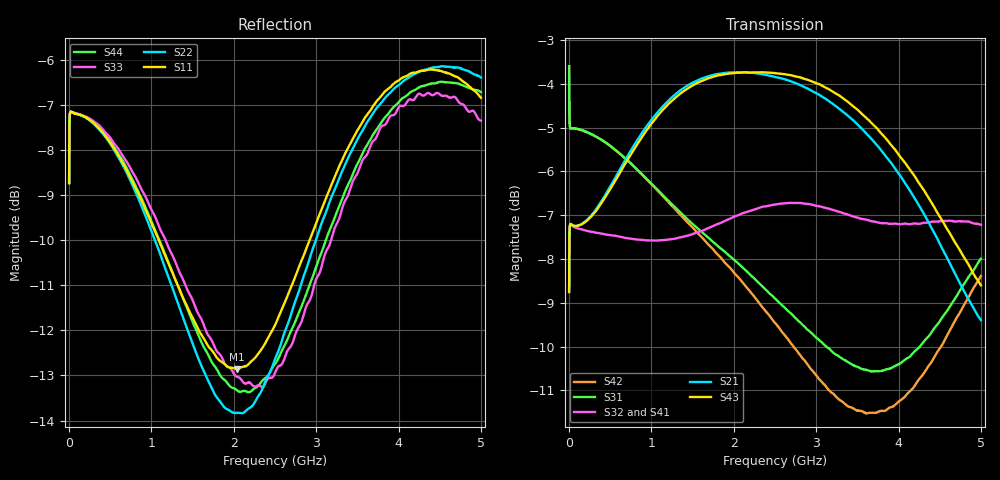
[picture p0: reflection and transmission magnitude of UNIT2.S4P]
!MINI CIRCUITS LABORATORY
!MODEL:TC1-1-13M+
!RUN/LOT/DATE CODE:MX88570
!FIXTURE USED:90-2-20-199,S/N66156
!CONNECTION:PORT1-PIN6,PORT2-PIN4,PORT3-PIN1,PORT4-PIN3; PIN 2,5-GRND
!Date: Fri Dec 14 12:07:04 2007
!Data & Calibration Information:
!Freq	S11:SOLT4(ON)	S12:SOLT4(ON)	S13:SOLT4(ON)	S14:SOLT4(ON)
!	S21:SOLT4(ON)	S22:SOLT4(ON)	S23:SOLT4(ON)	S24:SOLT4(ON)
!	S31:SOLT4(ON)	S32:SOLT4(ON)	S33:SOLT4(ON)	S34:SOLT4(ON)
!	S41:SOLT4(ON)	S42:SOLT4(ON)	S43:SOLT4(ON)	S44:SOLT4(ON)
# Hz S dB R 50
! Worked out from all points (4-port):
!   1601 points, 1 MHz to 5 GHz, reference 50 ohm
!   strongest paths, dB at 1 MHz, 1.251 GHz, 2.501 GHz, 3.75 GHz, 5 GHz:
!     S43: -8.7, -4.4, -3.8, -5.0, -8.6
!     S21: -8.8, -4.3, -3.8, -5.4, -9.4
!     S32: -8.8, -7.5, -6.8, -7.2, -7.2
!     S41: -8.8, -7.6, -6.9, -7.3, -7.3
!     S31: -3.6, -6.8, -8.9, -10.6, -8.0
!     S42: -3.6, -6.8, -9.5, -11.5, -8.4
!   lowest |S11| = -12.9 dB at 2.041 GHz (marker M1), VSWR 1.59, Z = 78.3 - j7.45 ohm
!   |S11| at or under -10 dB: 1.091 GHz to 2.92 GHz (1.829 GHz wide, 91.2 % of centre)
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1000000  -8.73 17.7  -8.75 17.8  -3.60 -9.7  -8.76 -162.4
         -8.75 17.8  -8.73 17.7  -8.75 -162.4  -3.60 -9.7
         -3.60 -9.7  -8.75 -162.3  -8.72 17.7  -8.74 17.7
         -8.76 -162.4  -3.60 -9.7  -8.75 17.7  -8.73 17.6
1.947112e8  -7.27 -5.6  -7.15 3.9  -5.08 -10.5  -7.35 167.1
            -7.14 3.9  -7.27 -6.5  -7.35 166.9  -5.09 -9.7
            -5.08 -10.5  -7.35 166.9  -7.25 -6.0  -7.15 3.8
            -7.34 167.1  -5.09 -9.7  -7.16 3.7  -7.26 -6.5
8.445812e8  -8.98 -22.8  -5.24 7.2  -5.99 -42.4  -7.55 127.8
            -5.24 7.2  -9.09 -26.3  -7.56 127.4  -5.99 -39.4
            -5.99 -42.4  -7.56 127.4  -8.74 -24.5  -5.32 7.2
            -7.56 127.7  -5.99 -39.4  -5.33 7.2  -8.94 -26.9
2.041217e9  -12.86 -11.4  -3.73 -12.5  -8.09 -97.0  -7.12 70.5
            -3.74 -12.5  -13.83 -13.3  -7.01 70.5  -8.38 -92.1
            -8.08 -97.0  -7.01 70.5  -13.03 -19.1  -3.74 -11.7
            -7.12 70.4  -8.39 -92.1  -3.75 -11.6  -13.33 -20.8
3.347206e9  -8.09 23.2  -4.67 -35.9  -10.33 -170.0  -7.14 17.6
            -4.67 -35.9  -8.34 25.2  -6.97 17.6  -11.29 -166.5
            -10.31 -170.1  -6.96 17.6  -9.14 22.4  -4.36 -35.0
            -7.16 17.6  -11.30 -166.4  -4.36 -34.9  -8.93 21.5
4.112678e9  -6.34 16.0  -6.37 -47.9  -10.27 149.2  -7.32 -6.2
            -6.36 -48.0  -6.40 17.8  -7.21 -6.0  -11.07 151.4
            -10.26 149.0  -7.20 -6.0  -6.91 15.5  -5.89 -47.4
            -7.31 -6.2  -11.06 151.6  -5.89 -47.4  -6.77 17.5
5e9  -6.84 -8.3  -9.39 -49.3  -8.01 102.7  -7.26 -38.1
     -9.39 -49.4  -6.39 -6.0  -7.23 -37.6  -8.39 107.1
     -7.99 102.5  -7.22 -37.7  -7.35 -7.1  -8.59 -51.0
     -7.27 -38.2  -8.39 107.3  -8.60 -51.0  -6.71 -4.1
